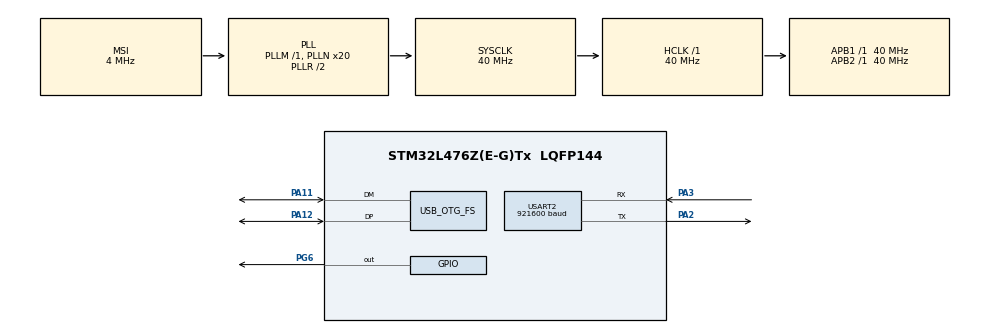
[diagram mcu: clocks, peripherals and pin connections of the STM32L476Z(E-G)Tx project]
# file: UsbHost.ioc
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Mcu.Family=STM32L4
RCC.MSI_VALUE=4000000
RCC.CortexFreq_Value=40000000
PG6.Signal=GPIO_Output
VP_IWDG_VS_IWDG.Mode=IWDG_Activate
USB_HOST0.BSP.solution=PG6
USB_HOST.BSP.number=1
PA11.Mode=Host_Only
VP_USB_HOST_VS_USB_HOST_HID_FS.Mode=HID_FS
NVIC.USART2_IRQn=true\:0\:0\:false\:false\:true\:true\:true
USART2.BaudRate=921600
RCC.SYSCLKSource=RCC_SYSCLKSOURCE_PLLCLK
ProjectManager.StackSize=0x400
USB_HOST0.BSP.STBoard=false
PA3.Mode=Asynchronous
PA12.Signal=USB_OTG_FS_DP
ProjectManager.TargetToolchain=STM32CubeIDE
RCC.HCLKFreq_Value=40000000
RCC.APB2TimFreq_Value=40000000
RCC.USBFreq_Value=48000000
USB_HOST0.BSP.ip=GPIO
RCC.LSE_VALUE=32768
RCC.AHBFreq_Value=40000000
RCC.HSE_VALUE=8000000
USB_OTG_FS.phy_itface=HCD_PHY_EMBEDDED
board=custom
USART2.VirtualMode-Asynchronous=VM_ASYNC
RCC.VCOOutputFreq_Value=80000000
USB_HOST.VirtualModeFS=Hid
RCC.APB2Freq_Value=40000000
USB_HOST0.BSP.api=Unknown
RCC.ADCFreq_Value=48000000
Mcu.Name=STM32L476Z(E-G)Tx
PA2.Signal=USART2_TX
USB_HOST0.BSP.i2caddr=0
RCC.SYSCLKFreq_VALUE=40000000
Mcu.Package=LQFP144
PA12.Mode=Host_Only
NVIC.OTG_FS_IRQn=true\:0\:0\:false\:false\:true\:true\:true
PA11.Signal=USB_OTG_FS_DM
IWDG.Reload=3999
USB_OTG_FS.VirtualMode=Host_Only
ProjectManager.HeapSize=0x200
RCC.HSI_VALUE=16000000
USB_HOST.USBH_HandleTypeDef=hUsbHostFS
NVIC.PriorityGroup=NVIC_PRIORITYGROUP_4
USB_HOST0.BSP.name=Drive_VBUS_FS
RCC.PLLN=20
IWDG.Prescaler=IWDG_PRESCALER_32
RCC.APB1TimFreq_Value=40000000
PA2.Mode=Asynchronous
RCC.APB1Freq_Value=40000000
IWDG.Window=3999
USB_HOST0.BSP.mode=Output
RCC.PLLSAI1N=24
PA3.Signal=USART2_RX
USB_HOST0.BSP.instance=PG6

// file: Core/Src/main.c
/* USER CODE BEGIN Header */
/**
  ******************************************************************************
  * @file           : main.c
  * @brief          : Main program body
  ******************************************************************************
  * @attention
  *
  * <h2><center>&copy; Copyright (c) 2021 STMicroelectronics.
  * All rights reserved.</center></h2>
  *
  * This software component is licensed by ST under BSD 3-Clause license,
  * the "License"; You may not use this file except in compliance with the
  * License. You may obtain a copy of the License at:
  *                        opensource.org/licenses/BSD-3-Clause
  *
  ******************************************************************************
  */
/* USER CODE END Header */
#include "main.h"
#include "usb_host.h"

/* USER CODE BEGIN Includes */
#include "usbh_def.h"
#include "usbh_hid_keybd.h"
/* USER CODE END Includes */

/* USER CODE BEGIN PD */
#ifdef DEBUG
#define DEBUG_VOLATILE volatile
#else
#define DEBUG_VOLATILE
#endif
/* USER CODE END PD */

IWDG_HandleTypeDef hiwdg;

UART_HandleTypeDef huart2;

/* USER CODE BEGIN PV */
extern USBH_HandleTypeDef hUsbHostFS;
extern ApplicationTypeDef Appli_state;
/* USER CODE END PV */

void SystemClock_Config(void);
static void MX_GPIO_Init(void);
static void MX_USART2_UART_Init(void);
static void MX_IWDG_Init(void);
void MX_USB_HOST_Process(void);

/* USER CODE BEGIN PFP */
uint16_t crc16_update(uint16_t crc, uint8_t a)
{
  int i;
  crc ^= a;
  for(i = 0; i < 8; ++i)
  {
    if(crc & 1)
      crc = (crc >> 1) ^ 0xA001;
    else
      crc = (crc >> 1);
  }
  return crc;
}

/**
 * @brief Calculate CRC-16
 * @param data_in Data to calculate CRC from
 * @param data_length Length of the data
 */
uint16_t crc16_calculate(uint8_t* data_in, uint16_t data_length)
{
  uint16_t crc_calc = 0xFFFF;
  for(uint8_t* p = data_in; p < (data_in + data_length); p++)
  {
    crc_calc = crc16_update(crc_calc, *p);
  }
  return crc_calc;
}

static void SendMessage(uint8_t* msg, uint8_t len)
{
	uint8_t output_buffer[255];
	memcpy(output_buffer, msg, len);
	uint16_t crc16 = crc16_calculate(msg, len);
	memcpy(&output_buffer[len], &crc16, sizeof(crc16));
	HAL_UART_Transmit(&huart2, output_buffer, len + 2, 100);
}

void SendInitMessage(void)
{
	SendMessage((uint8_t*)"reset", 5);
}

void SendPressedKeys(void)
{
	if(Appli_state != APPLICATION_READY)
		return;

	__disable_irq();
	DEBUG_VOLATILE HID_KEYBD_Info_TypeDef* info = USBH_HID_GetKeybdInfo(&hUsbHostFS);
	if(info)
	{
		SendMessage((uint8_t*)info, sizeof(HID_KEYBD_Info_TypeDef));
	}
	__enable_irq();
}
/* USER CODE END PFP */

int main(void)
{

  /* MCU Configuration--------------------------------------------------------*/

  /* Reset of all peripherals, Initializes the Flash interface and the Systick. */
  HAL_Init();

  /* Configure the system clock */
  SystemClock_Config();

  /* Initialize all configured peripherals */
  MX_GPIO_Init();
  MX_USART2_UART_Init();
  MX_USB_HOST_Init();
  MX_IWDG_Init();
  /* USER CODE BEGIN 2 */
#ifdef DEBUG
  __HAL_DBGMCU_FREEZE_IWDG();
#else
  __HAL_DBGMCU_UNFREEZE_IWDG();
#endif
  SendInitMessage();
  /* USER CODE END 2 */

  /* Infinite loop */
  while (1)
  {
    MX_USB_HOST_Process();
    SendPressedKeys();
    HAL_IWDG_Refresh(&hiwdg);
  }
}

void SystemClock_Config(void)
{
  RCC_OscInitTypeDef RCC_OscInitStruct = {0};
  RCC_ClkInitTypeDef RCC_ClkInitStruct = {0};
  RCC_PeriphCLKInitTypeDef PeriphClkInit = {0};

  /** Initializes the RCC Oscillators according to the specified parameters
  * in the RCC_OscInitTypeDef structure.
  */
  RCC_OscInitStruct.OscillatorType = RCC_OSCILLATORTYPE_LSI|RCC_OSCILLATORTYPE_MSI;
  RCC_OscInitStruct.LSIState = RCC_LSI_ON;
  RCC_OscInitStruct.MSIState = RCC_MSI_ON;
  RCC_OscInitStruct.MSICalibrationValue = 0;
  RCC_OscInitStruct.MSIClockRange = RCC_MSIRANGE_6;
  RCC_OscInitStruct.PLL.PLLState = RCC_PLL_ON;
  RCC_OscInitStruct.PLL.PLLSource = RCC_PLLSOURCE_MSI;
  RCC_OscInitStruct.PLL.PLLM = 1;
  RCC_OscInitStruct.PLL.PLLN = 20;
  RCC_OscInitStruct.PLL.PLLP = RCC_PLLP_DIV7;
  RCC_OscInitStruct.PLL.PLLQ = RCC_PLLQ_DIV2;
  RCC_OscInitStruct.PLL.PLLR = RCC_PLLR_DIV2;
  if (HAL_RCC_OscConfig(&RCC_OscInitStruct) != HAL_OK)
  {
    Error_Handler();
  }
  /** Initializes the CPU, AHB and APB buses clocks
  */
  RCC_ClkInitStruct.ClockType = RCC_CLOCKTYPE_HCLK|RCC_CLOCKTYPE_SYSCLK
                              |RCC_CLOCKTYPE_PCLK1|RCC_CLOCKTYPE_PCLK2;
  RCC_ClkInitStruct.SYSCLKSource = RCC_SYSCLKSOURCE_PLLCLK;
  RCC_ClkInitStruct.AHBCLKDivider = RCC_SYSCLK_DIV1;
  RCC_ClkInitStruct.APB1CLKDivider = RCC_HCLK_DIV1;
  RCC_ClkInitStruct.APB2CLKDivider = RCC_HCLK_DIV1;

  if (HAL_RCC_ClockConfig(&RCC_ClkInitStruct, FLASH_LATENCY_2) != HAL_OK)
  {
    Error_Handler();
  }
  PeriphClkInit.PeriphClockSelection = RCC_PERIPHCLK_USART2|RCC_PERIPHCLK_USB;
  PeriphClkInit.Usart2ClockSelection = RCC_USART2CLKSOURCE_PCLK1;
  PeriphClkInit.UsbClockSelection = RCC_USBCLKSOURCE_PLLSAI1;
  PeriphClkInit.PLLSAI1.PLLSAI1Source = RCC_PLLSOURCE_MSI;
  PeriphClkInit.PLLSAI1.PLLSAI1M = 1;
  PeriphClkInit.PLLSAI1.PLLSAI1N = 24;
  PeriphClkInit.PLLSAI1.PLLSAI1P = RCC_PLLP_DIV7;
  PeriphClkInit.PLLSAI1.PLLSAI1Q = RCC_PLLQ_DIV2;
  PeriphClkInit.PLLSAI1.PLLSAI1R = RCC_PLLR_DIV2;
  PeriphClkInit.PLLSAI1.PLLSAI1ClockOut = RCC_PLLSAI1_48M2CLK;
  if (HAL_RCCEx_PeriphCLKConfig(&PeriphClkInit) != HAL_OK)
  {
    Error_Handler();
  }
  /** Configure the main internal regulator output voltage
  */
  if (HAL_PWREx_ControlVoltageScaling(PWR_REGULATOR_VOLTAGE_SCALE1) != HAL_OK)
  {
    Error_Handler();
  }
}

static void MX_IWDG_Init(void)
{

  hiwdg.Instance = IWDG;
  hiwdg.Init.Prescaler = IWDG_PRESCALER_32;
  hiwdg.Init.Window = 3999;
  hiwdg.Init.Reload = 3999;
  if (HAL_IWDG_Init(&hiwdg) != HAL_OK)
  {
    Error_Handler();
  }

}

static void MX_USART2_UART_Init(void)
{

  huart2.Instance = USART2;
  huart2.Init.BaudRate = 921600;
  huart2.Init.WordLength = UART_WORDLENGTH_8B;
  huart2.Init.StopBits = UART_STOPBITS_1;
  huart2.Init.Parity = UART_PARITY_NONE;
  huart2.Init.Mode = UART_MODE_TX_RX;
  huart2.Init.HwFlowCtl = UART_HWCONTROL_NONE;
  huart2.Init.OverSampling = UART_OVERSAMPLING_16;
  huart2.Init.OneBitSampling = UART_ONE_BIT_SAMPLE_DISABLE;
  huart2.AdvancedInit.AdvFeatureInit = UART_ADVFEATURE_NO_INIT;
  if (HAL_UART_Init(&huart2) != HAL_OK)
  {
    Error_Handler();
  }

}

static void MX_GPIO_Init(void)
{
  GPIO_InitTypeDef GPIO_InitStruct = {0};

  /* GPIO Ports Clock Enable */
  __HAL_RCC_GPIOA_CLK_ENABLE();
  __HAL_RCC_GPIOG_CLK_ENABLE();
  HAL_PWREx_EnableVddIO2();

  /*Configure GPIO pin Output Level */
  HAL_GPIO_WritePin(GPIOG, GPIO_PIN_6, GPIO_PIN_RESET);

  /*Configure GPIO pin : PG6 */
  GPIO_InitStruct.Pin = GPIO_PIN_6;
  GPIO_InitStruct.Mode = GPIO_MODE_OUTPUT_PP;
  GPIO_InitStruct.Pull = GPIO_NOPULL;
  GPIO_InitStruct.Speed = GPIO_SPEED_FREQ_LOW;
  HAL_GPIO_Init(GPIOG, &GPIO_InitStruct);

}

void Error_Handler(void)
{
  __disable_irq();
  while (1)
  {
  }
}

/************************ (C) COPYRIGHT STMicroelectronics *****END OF FILE****/
